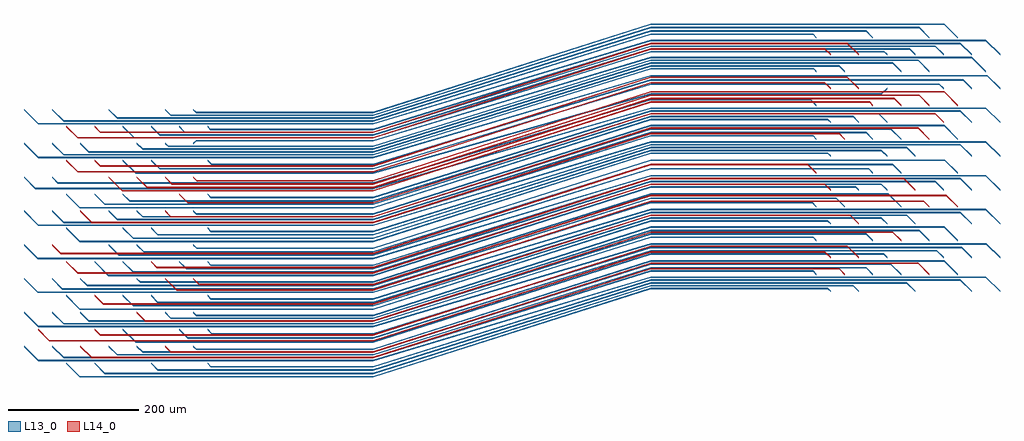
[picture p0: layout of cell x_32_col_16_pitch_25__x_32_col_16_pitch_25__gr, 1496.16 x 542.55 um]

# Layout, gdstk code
import gdstk
lib = gdstk.Library(unit=1e-6, precision=1e-09)
def R(c, l, rs):  # rectangles x0, y0, x1, y1
    for r in rs: c.add(gdstk.rectangle(r[:2], r[2:], *l))
def A(c, l, x, y, w, h, nx, ny, dx, dy):  # array of equal rectangles
    R(c, l, [(x+i*dx, y+j*dy, x+i*dx+w, y+j*dy+h) for i in range(nx) for j in range(ny)])
def P(c, l, *ps):  # polygons
    for p in ps: c.add(gdstk.Polygon(p, *l))
L13_0 = (13, 0)
L14_0 = (14, 0)

x_32_col_16_pitch_25__x_ = lib.new_cell('x_32_col_16_pitch_25__x_32_col_16_pitch_25__gr')
A(x_32_col_16_pitch_25__x_, L13_0, 1425.106, 1466.224, 449.894, 2, 1, 3, 0, 103.68)
A(x_32_col_16_pitch_25__x_, L13_0, 1544.638, 1476.592, 330.362, 2, 1, 3, 0, 103.68)
A(x_32_col_16_pitch_25__x_, L13_0, 1506.522, 1575.088, 368.478, 2, 1, 3, 0, 51.84)
A(x_32_col_16_pitch_25__x_, L13_0, 1626.054, 1585.456, 248.946, 2, 1, 4, 0, 51.84)
A(x_32_col_16_pitch_25__x_, L13_0, 2300, 1601.56, 271.46, 2, 1, 3, 0, 103.68)
A(x_32_col_16_pitch_25__x_, L13_0, 2300, 1610.2, 392.72, 2, 1, 3, 0, 103.68)
A(x_32_col_16_pitch_25__x_, L13_0, 2300, 1680.184, 248.946, 2, 1, 3, 0, 155.52)
A(x_32_col_16_pitch_25__x_, L13_0, 2300, 1685.368, 330.362, 2, 1, 3, 0, 155.52)
A(x_32_col_16_pitch_25__x_, L13_0, 2300, 1695.736, 449.894, 2, 1, 3, 0, 155.52)
A(x_32_col_16_pitch_25__x_, L13_0, 2300, 1709.56, 353.74, 2, 1, 3, 0, 51.84)
A(x_32_col_16_pitch_25__x_, L13_0, 2300, 1718.2, 475, 2, 1, 4, 0, 51.84)
A(x_32_col_16_pitch_25__x_, L13_0, 2300, 1722.52, 513.982, 2, 1, 4, 0, 51.84)
R(x_32_col_16_pitch_25__x_, L13_0, [(1463.222,1471.408,1875,1473.408), (1626.054,1481.776,1875,1483.776), (1361.017,1491.28,1875,1493.28), (1400,1495.6,1875,1497.6), (1482.28,1499.92,1875,1501.92), (1521.26,1504.24,1875,1506.24), (1603.54,1508.56,1875,1510.56), (1510.41,1519.36,1875,1521.36), (1590.53,1525.84,1875,1527.84), (1627.35,1532.32,1875,1534.32), (1361.017,1543.12,1875,1545.12), (1400,1547.44,1875,1549.44), (1438.98,1551.76,1875,1553.76), (1564.56,1556.08,1875,1558.08), (1603.54,1560.4,1875,1562.4), (1360.153,1595.824,1875,1597.824), (1398.272,1601.008,1875,1603.008), (2300,1605.88,2610.44,1607.88), (1436.388,1606.192,1875,1608.192), (1517.804,1611.376,1875,1613.376), (2300,1614.52,2775,1616.52), (2300,1618.84,2813.982,1620.84), (1468.406,1621.744,1875,1623.744), (2300,1628.344,2548.946,1630.344), (1587.938,1632.112,1875,1634.112), (2300,1633.528,2630.362,1635.528), (2300,1638.712,2668.478,1640.712), (2300,1643.896,2749.894,1645.896), (1360.153,1647.664,1875,1649.664), (1484.872,1652.848,1875,1654.848), (2300,1654.264,2657.196,1656.264), (1522.988,1658.032,1875,1660.032), (2300,1659.448,2738.612,1661.448), (1604.404,1663.216,1875,1665.216), (2300,1664.632,2776.728,1666.632), (2300,1669.816,2814.846,1671.816), (2300,1690.552,2711.778,1692.552), (1361.017,1698.64,1875,1700.64), (1400,1702.96,1875,1704.96), (1482.28,1707.28,1875,1709.28), (1521.26,1711.6,1875,1713.6), (1603.54,1715.92,1875,1717.92), (1425.106,1725.424,1875,1727.424), (1463.222,1730.608,1875,1732.608), (2300,1733.32,2547.65,1735.32), (1501.338,1735.792,1875,1737.792), (2300,1739.8,2584.47,1741.8), (2300,1746.28,2664.59,1748.28), (1356.697,1754.8,1875,1756.8), (2300,1757.08,2614.76,1759.08), (1391.36,1763.44,1875,1765.44), (2300,1765.72,2736.02,1767.72), (1510.41,1778.56,1875,1780.56), (1547.23,1785.04,1875,1787.04), (2300,1785.16,2634.25,1787.16), (1627.35,1791.52,1875,1793.52), (2300,1791.64,2671.07,1793.64), (2300,1798.12,2751.19,1800.12), (1361.017,1802.32,1875,1804.32), (1400,1806.64,1875,1808.64), (1438.98,1810.96,1875,1812.96), (1521.26,1815.28,1875,1817.28), (1560.24,1819.6,1875,1821.6), (1603.54,1828.24,1875,1830.24), (1508.25,1832.56,1875,1834.56), (1547.23,1836.88,1875,1838.88), (1586.21,1841.2,1875,1843.2), (1625.19,1845.52,1875,1847.52), (2300,1846.072,2668.478,1848.072), (1361.017,1854.16,1875,1856.16), (1400,1858.48,1875,1860.48), (2300,1860.76,2571.46,1862.76), (1482.28,1862.8,1875,1864.8), (2300,1865.08,2610.44,1867.08), (1564.56,1867.12,1875,1869.12), (2300,1869.4,2649.42,1871.4), (1603.54,1871.44,1875,1873.44), (2300,1891,2545.49,1893), (2300,1899.64,2653.74,1901.64), (2300,1914.76,2742.5,1916.76), (2300,1921.24,2779.32,1923.24), (2300,1927.72,2816.142,1929.72), (2300,1938.52,2549.81,1940.52), (2300,1942.84,2588.79,1944.84), (2300,1947.16,2671.07,1949.16), (2300,1951.48,2710.05,1953.48), (2300,1955.8,2792.332,1957.8), (2300,1964.44,2658.06,1966.44), (2300,1968.76,2697.04,1970.76), (2300,1973.08,2736.02,1975.08), (2300,1977.4,2775,1979.4), (2300,1981.72,2813.982,1983.72), (2300,2001.592,2711.778,2003.592)])
P(x_32_col_16_pitch_25__x_, L13_0, [(2554.13,1986.04),(2554.13,1988.04),(2548.946,1993.224),(2548.946,1991.224)],
  [(2300,1991.224),(2300,1993.224),(1875,1860.48),(1875,1858.48)],
  [(1400,1858.48),(1400,1860.48),(1382.72,1877.76),(1382.72,1875.76)],
  [(2640.73,1986.04),(2640.73,1988.04),(2630.362,1998.408),(2630.362,1996.408)],
  [(2300,1996.408),(2300,1998.408),(1875,1864.8),(1875,1862.8)],
  [(1482.28,1862.8),(1482.28,1864.8),(1469.32,1877.76),(1469.32,1875.76)],
  [(2727.33,1986.04),(2727.33,1988.04),(2711.778,2003.592),(2711.778,2001.592)],
  [(2300,2001.592),(2300,2003.592),(1875,1869.12),(1875,1867.12)],
  [(1564.56,1867.12),(1564.56,1869.12),(1555.92,1877.76),(1555.92,1875.76)],
  [(2770.63,1986.04),(2770.63,1988.04),(2749.894,2008.776),(2749.894,2006.776)],
  [(2300,2006.776),(2300,2008.776),(1875,1873.44),(1875,1871.44)],
  [(1603.54,1871.44),(1603.54,1873.44),(1599.22,1877.76),(1599.22,1875.76)],
  [(2662.38,1960.12),(2662.38,1962.12),(2658.06,1966.44),(2658.06,1964.44)],
  [(2300,1964.44),(2300,1966.44),(1875,1834.56),(1875,1832.56)],
  [(1508.25,1832.56),(1508.25,1834.56),(1490.97,1851.84),(1490.97,1849.84)],
  [(2705.68,1960.12),(2705.68,1962.12),(2697.04,1970.76),(2697.04,1968.76)],
  [(2300,1968.76),(2300,1970.76),(1875,1838.88),(1875,1836.88)],
  [(1547.23,1836.88),(1547.23,1838.88),(1534.27,1851.84),(1534.27,1849.84)],
  [(2748.98,1960.12),(2748.98,1962.12),(2736.02,1975.08),(2736.02,1973.08)],
  [(2300,1973.08),(2300,1975.08),(1875,1843.2),(1875,1841.2)],
  [(1586.21,1841.2),(1586.21,1843.2),(1577.57,1851.84),(1577.57,1849.84)],
  [(2792.28,1960.12),(2792.28,1962.12),(2775,1979.4),(2775,1977.4)],
  [(2300,1977.4),(2300,1979.4),(1875,1847.52),(1875,1845.52)],
  [(1625.19,1845.52),(1625.19,1847.52),(1620.87,1851.84),(1620.87,1849.84)],
  [(2835.582,1960.12),(2835.582,1962.12),(2813.982,1983.72),(2813.982,1981.72)],
  [(2300,1981.72),(2300,1983.72),(1875,1856.16),(1875,1854.16)],
  [(1361.017,1854.16),(1361.017,1856.16),(1339.417,1877.76),(1339.417,1875.76)],
  [(2554.13,1934.2),(2554.13,1936.2),(2549.81,1940.52),(2549.81,1938.52)],
  [(2300,1938.52),(2300,1940.52),(1875,1808.64),(1875,1806.64)],
  [(1400,1806.64),(1400,1808.64),(1382.72,1825.92),(1382.72,1823.92)],
  [(2597.43,1934.2),(2597.43,1936.2),(2588.79,1944.84),(2588.79,1942.84)],
  [(2300,1942.84),(2300,1944.84),(1875,1812.96),(1875,1810.96)],
  [(1438.98,1810.96),(1438.98,1812.96),(1426.02,1825.92),(1426.02,1823.92)],
  [(2684.03,1934.2),(2684.03,1936.2),(2671.07,1949.16),(2671.07,1947.16)],
  [(2300,1947.16),(2300,1949.16),(1875,1817.28),(1875,1815.28)],
  [(1521.26,1815.28),(1521.26,1817.28),(1512.62,1825.92),(1512.62,1823.92)],
  [(2727.33,1934.2),(2727.33,1936.2),(2710.05,1953.48),(2710.05,1951.48)],
  [(2300,1951.48),(2300,1953.48),(1875,1821.6),(1875,1819.6)],
  [(1560.24,1819.6),(1560.24,1821.6),(1555.92,1825.92),(1555.92,1823.92)],
  [(2813.932,1934.2),(2813.932,1936.2),(2792.332,1957.8),(2792.332,1955.8)],
  [(2300,1955.8),(2300,1957.8),(1875,1830.24),(1875,1828.24)],
  [(1603.54,1828.24),(1603.54,1830.24),(1599.22,1825.92),(1599.22,1823.92)],
  [(2662.38,1908.28),(2662.38,1910.28),(2653.74,1901.64),(2653.74,1899.64)],
  [(2300,1899.64),(2300,1901.64),(1875,1780.56),(1875,1778.56)],
  [(1510.41,1778.56),(1510.41,1780.56),(1490.97,1800),(1490.97,1798)],
  [(2748.98,1908.28),(2748.98,1910.28),(2742.5,1916.76),(2742.5,1914.76)],
  [(2300,1914.76),(2300,1916.76),(1875,1787.04),(1875,1785.04)],
  [(1547.23,1785.04),(1547.23,1787.04),(1534.27,1800),(1534.27,1798)],
  [(2792.28,1908.28),(2792.28,1910.28),(2779.32,1923.24),(2779.32,1921.24)],
  [(2300,1921.24),(2300,1923.24),(1875,1793.52),(1875,1791.52)],
  [(1627.35,1791.52),(1627.35,1793.52),(1620.87,1800),(1620.87,1798)],
  [(2835.582,1908.28),(2835.582,1910.28),(2816.142,1929.72),(2816.142,1927.72)],
  [(2300,1927.72),(2300,1929.72),(1875,1804.32),(1875,1802.32)],
  [(1361.017,1802.32),(1361.017,1804.32),(1339.417,1825.92),(1339.417,1823.92)],
  [(2554.13,1882.36),(2554.13,1884.36),(2545.49,1893),(2545.49,1891)],
  [(2300,1891),(2300,1893),(1875,1765.44),(1875,1763.44)],
  [(1391.36,1763.44),(1391.36,1765.44),(1382.72,1774.08),(1382.72,1772.08)],
  [(2575.78,1856.44),(2575.78,1858.44),(2571.46,1862.76),(2571.46,1860.76)],
  [(2300,1860.76),(2300,1862.76),(1875,1727.424),(1875,1725.424)],
  [(1425.106,1725.424),(1425.106,1727.424),(1404.37,1748.16),(1404.37,1746.16)],
  [(2619.08,1856.44),(2619.08,1858.44),(2610.44,1867.08),(2610.44,1865.08)],
  [(2300,1865.08),(2300,1867.08),(1875,1732.608),(1875,1730.608)],
  [(1463.222,1730.608),(1463.222,1732.608),(1447.67,1748.16),(1447.67,1746.16)],
  [(2662.38,1856.44),(2662.38,1858.44),(2649.42,1871.4),(2649.42,1869.4)],
  [(2300,1869.4),(2300,1871.4),(1875,1737.792),(1875,1735.792)],
  [(1501.338,1735.792),(1501.338,1737.792),(1490.97,1748.16),(1490.97,1746.16)],
  [(2792.28,1856.44),(2792.28,1858.44),(2775,1875.72),(2775,1873.72)],
  [(2300,1873.72),(2300,1875.72),(1875,1742.976),(1875,1740.976)],
  [(1626.054,1740.976),(1626.054,1742.976),(1620.87,1748.16),(1620.87,1746.16)],
  [(2835.582,1856.44),(2835.582,1858.44),(2813.982,1880.04),(2813.982,1878.04)],
  [(2300,1878.04),(2300,1880.04),(1875,1756.8),(1875,1754.8)],
  [(1356.697,1754.8),(1356.697,1756.8),(1339.417,1774.08),(1339.417,1772.08)],
  [(2554.13,1830.52),(2554.13,1832.52),(2548.946,1837.704),(2548.946,1835.704)],
  [(2300,1835.704),(2300,1837.704),(1875,1704.96),(1875,1702.96)],
  [(1400,1702.96),(1400,1704.96),(1382.72,1722.24),(1382.72,1720.24)],
  [(2640.73,1830.52),(2640.73,1832.52),(2630.362,1842.888),(2630.362,1840.888)],
  [(2300,1840.888),(2300,1842.888),(1875,1709.28),(1875,1707.28)],
  [(1482.28,1707.28),(1482.28,1709.28),(1469.32,1722.24),(1469.32,1720.24)],
  [(2684.03,1830.52),(2684.03,1832.52),(2668.478,1848.072),(2668.478,1846.072)],
  [(2300,1846.072),(2300,1848.072),(1875,1713.6),(1875,1711.6)],
  [(1521.26,1711.6),(1521.26,1713.6),(1512.62,1722.24),(1512.62,1720.24)],
  [(2770.63,1830.52),(2770.63,1832.52),(2749.894,1853.256),(2749.894,1851.256)],
  [(2300,1851.256),(2300,1853.256),(1875,1717.92),(1875,1715.92)],
  [(1603.54,1715.92),(1603.54,1717.92),(1599.22,1722.24),(1599.22,1720.24)],
  [(2575.78,1804.6),(2575.78,1806.6),(2571.46,1810.92),(2571.46,1808.92)],
  [(2300,1808.92),(2300,1810.92),(1875,1675.584),(1875,1673.584)],
  [(1425.106,1673.584),(1425.106,1675.584),(1404.37,1696.32),(1404.37,1694.32)],
  [(2662.38,1804.6),(2662.38,1806.6),(2653.74,1815.24),(2653.74,1813.24)],
  [(2300,1813.24),(2300,1815.24),(1875,1680.768),(1875,1678.768)],
  [(1506.522,1678.768),(1506.522,1680.768),(1490.97,1696.32),(1490.97,1694.32)],
  [(2705.68,1804.6),(2705.68,1806.6),(2692.72,1819.56),(2692.72,1817.56)],
  [(2300,1817.56),(2300,1819.56),(1875,1685.952),(1875,1683.952)],
  [(1544.638,1683.952),(1544.638,1685.952),(1534.27,1696.32),(1534.27,1694.32)],
  [(2792.28,1804.6),(2792.28,1806.6),(2775,1823.88),(2775,1821.88)],
  [(2300,1821.88),(2300,1823.88),(1875,1691.136),(1875,1689.136)],
  [(1626.054,1689.136),(1626.054,1691.136),(1620.87,1696.32),(1620.87,1694.32)],
  [(2835.582,1804.6),(2835.582,1806.6),(2813.982,1828.2),(2813.982,1826.2)],
  [(2300,1826.2),(2300,1828.2),(1875,1700.64),(1875,1698.64)],
  [(1361.017,1698.64),(1361.017,1700.64),(1339.417,1722.24),(1339.417,1720.24)],
  [(2640.73,1778.68),(2640.73,1780.68),(2634.25,1787.16),(2634.25,1785.16)],
  [(2300,1785.16),(2300,1787.16),(1875,1654.848),(1875,1652.848)],
  [(1484.872,1652.848),(1484.872,1654.848),(1469.32,1670.4),(1469.32,1668.4)],
  [(2684.03,1778.68),(2684.03,1780.68),(2671.07,1793.64),(2671.07,1791.64)],
  [(2300,1791.64),(2300,1793.64),(1875,1660.032),(1875,1658.032)],
  [(1522.988,1658.032),(1522.988,1660.032),(1512.62,1670.4),(1512.62,1668.4)],
  [(2770.63,1778.68),(2770.63,1780.68),(2751.19,1800.12),(2751.19,1798.12)],
  [(2300,1798.12),(2300,1800.12),(1875,1665.216),(1875,1663.216)],
  [(1604.404,1663.216),(1604.404,1665.216),(1599.22,1670.4),(1599.22,1668.4)],
  [(2619.08,1752.76),(2619.08,1754.76),(2614.76,1759.08),(2614.76,1757.08)],
  [(2300,1757.08),(2300,1759.08),(1875,1623.744),(1875,1621.744)],
  [(1468.406,1621.744),(1468.406,1623.744),(1447.67,1644.48),(1447.67,1642.48)],
  [(2662.38,1752.76),(2662.38,1754.76),(2653.74,1763.4),(2653.74,1761.4)],
  [(2300,1761.4),(2300,1763.4),(1875,1628.928),(1875,1626.928)],
  [(1506.522,1626.928),(1506.522,1628.928),(1490.97,1644.48),(1490.97,1642.48)],
  [(2748.98,1752.76),(2748.98,1754.76),(2736.02,1767.72),(2736.02,1765.72)],
  [(2300,1765.72),(2300,1767.72),(1875,1634.112),(1875,1632.112)],
  [(1587.938,1632.112),(1587.938,1634.112),(1577.57,1644.48),(1577.57,1642.48)],
  [(2792.28,1752.76),(2792.28,1754.76),(2775,1772.04),(2775,1770.04)],
  [(2300,1770.04),(2300,1772.04),(1875,1639.296),(1875,1637.296)],
  [(1626.054,1637.296),(1626.054,1639.296),(1620.87,1644.48),(1620.87,1642.48)],
  [(2835.582,1752.76),(2835.582,1754.76),(2813.982,1776.36),(2813.982,1774.36)],
  [(2300,1774.36),(2300,1776.36),(1875,1649.664),(1875,1647.664)],
  [(1360.153,1647.664),(1360.153,1649.664),(1339.417,1670.4),(1339.417,1668.4)],
  [(2554.13,1726.84),(2554.13,1728.84),(2547.65,1735.32),(2547.65,1733.32)],
  [(2300,1733.32),(2300,1735.32),(1875,1603.008),(1875,1601.008)],
  [(1398.272,1601.008),(1398.272,1603.008),(1382.72,1618.56),(1382.72,1616.56)],
  [(2597.43,1726.84),(2597.43,1728.84),(2584.47,1741.8),(2584.47,1739.8)],
  [(2300,1739.8),(2300,1741.8),(1875,1608.192),(1875,1606.192)],
  [(1436.388,1606.192),(1436.388,1608.192),(1426.02,1618.56),(1426.02,1616.56)],
  [(2684.03,1726.84),(2684.03,1728.84),(2664.59,1748.28),(2664.59,1746.28)],
  [(2300,1746.28),(2300,1748.28),(1875,1613.376),(1875,1611.376)],
  [(1517.804,1611.376),(1517.804,1613.376),(1512.62,1618.56),(1512.62,1616.56)],
  [(2575.78,1700.92),(2575.78,1702.92),(2571.46,1707.24),(2571.46,1705.24)],
  [(2300,1705.24),(2300,1707.24),(1875,1571.904),(1875,1569.904)],
  [(1425.106,1569.904),(1425.106,1571.904),(1404.37,1592.64),(1404.37,1590.64)],
  [(2662.38,1700.92),(2662.38,1702.92),(2653.74,1711.56),(2653.74,1709.56)],
  [(2300,1709.56),(2300,1711.56),(1875,1577.088),(1875,1575.088)],
  [(1506.522,1575.088),(1506.522,1577.088),(1490.97,1592.64),(1490.97,1590.64)],
  [(2705.68,1700.92),(2705.68,1702.92),(2692.72,1715.88),(2692.72,1713.88)],
  [(2300,1713.88),(2300,1715.88),(1875,1582.272),(1875,1580.272)],
  [(1544.638,1580.272),(1544.638,1582.272),(1534.27,1592.64),(1534.27,1590.64)],
  [(2792.28,1700.92),(2792.28,1702.92),(2775,1720.2),(2775,1718.2)],
  [(2300,1718.2),(2300,1720.2),(1875,1587.456),(1875,1585.456)],
  [(1626.054,1585.456),(1626.054,1587.456),(1620.87,1592.64),(1620.87,1590.64)],
  [(2835.582,1700.92),(2835.582,1702.92),(2813.982,1724.52),(2813.982,1722.52)],
  [(2300,1722.52),(2300,1724.52),(1875,1597.824),(1875,1595.824)],
  [(1360.153,1595.824),(1360.153,1597.824),(1339.417,1618.56),(1339.417,1616.56)],
  [(2554.13,1675),(2554.13,1677),(2548.946,1682.184),(2548.946,1680.184)],
  [(2300,1680.184),(2300,1682.184),(1875,1549.44),(1875,1547.44)],
  [(1400,1547.44),(1400,1549.44),(1382.72,1566.72),(1382.72,1564.72)],
  [(2640.73,1675),(2640.73,1677),(2630.362,1687.368),(2630.362,1685.368)],
  [(2300,1685.368),(2300,1687.368),(1875,1553.76),(1875,1551.76)],
  [(1438.98,1551.76),(1438.98,1553.76),(1426.02,1566.72),(1426.02,1564.72)],
  [(2727.33,1675),(2727.33,1677),(2711.778,1692.552),(2711.778,1690.552)],
  [(2300,1690.552),(2300,1692.552),(1875,1558.08),(1875,1556.08)],
  [(1564.56,1556.08),(1564.56,1558.08),(1555.92,1566.72),(1555.92,1564.72)],
  [(2770.63,1675),(2770.63,1677),(2749.894,1697.736),(2749.894,1695.736)],
  [(2300,1695.736),(2300,1697.736),(1875,1562.4),(1875,1560.4)],
  [(1603.54,1560.4),(1603.54,1562.4),(1599.22,1566.72),(1599.22,1564.72)],
  [(2662.38,1649.08),(2662.38,1651.08),(2657.196,1656.264),(2657.196,1654.264)],
  [(2300,1654.264),(2300,1656.264),(1875,1521.36),(1875,1519.36)],
  [(1510.41,1519.36),(1510.41,1521.36),(1490.97,1540.8),(1490.97,1538.8)],
  [(2748.98,1649.08),(2748.98,1651.08),(2738.612,1661.448),(2738.612,1659.448)],
  [(2300,1659.448),(2300,1661.448),(1875,1527.84),(1875,1525.84)],
  [(1590.53,1525.84),(1590.53,1527.84),(1577.57,1540.8),(1577.57,1538.8)],
  [(2792.28,1649.08),(2792.28,1651.08),(2776.728,1666.632),(2776.728,1664.632)],
  [(2300,1664.632),(2300,1666.632),(1875,1534.32),(1875,1532.32)],
  [(1627.35,1532.32),(1627.35,1534.32),(1620.87,1540.8),(1620.87,1538.8)],
  [(2835.582,1649.08),(2835.582,1651.08),(2814.846,1671.816),(2814.846,1669.816)],
  [(2300,1669.816),(2300,1671.816),(1875,1545.12),(1875,1543.12)],
  [(1361.017,1543.12),(1361.017,1545.12),(1339.417,1566.72),(1339.417,1564.72)],
  [(2554.13,1623.16),(2554.13,1625.16),(2548.946,1630.344),(2548.946,1628.344)],
  [(2300,1628.344),(2300,1630.344),(1875,1497.6),(1875,1495.6)],
  [(1400,1495.6),(1400,1497.6),(1382.72,1514.88),(1382.72,1512.88)],
  [(2640.73,1623.16),(2640.73,1625.16),(2630.362,1635.528),(2630.362,1633.528)],
  [(2300,1633.528),(2300,1635.528),(1875,1501.92),(1875,1499.92)],
  [(1482.28,1499.92),(1482.28,1501.92),(1469.32,1514.88),(1469.32,1512.88)],
  [(2684.03,1623.16),(2684.03,1625.16),(2668.478,1640.712),(2668.478,1638.712)],
  [(2300,1638.712),(2300,1640.712),(1875,1506.24),(1875,1504.24)],
  [(1521.26,1504.24),(1521.26,1506.24),(1512.62,1514.88),(1512.62,1512.88)],
  [(2770.63,1623.16),(2770.63,1625.16),(2749.894,1645.896),(2749.894,1643.896)],
  [(2300,1643.896),(2300,1645.896),(1875,1510.56),(1875,1508.56)],
  [(1603.54,1508.56),(1603.54,1510.56),(1599.22,1514.88),(1599.22,1512.88)],
  [(2575.78,1597.24),(2575.78,1599.24),(2571.46,1603.56),(2571.46,1601.56)],
  [(2300,1601.56),(2300,1603.56),(1875,1468.224),(1875,1466.224)],
  [(1425.106,1466.224),(1425.106,1468.224),(1404.37,1488.96),(1404.37,1486.96)],
  [(2619.08,1597.24),(2619.08,1599.24),(2610.44,1607.88),(2610.44,1605.88)],
  [(2300,1605.88),(2300,1607.88),(1875,1473.408),(1875,1471.408)],
  [(1463.222,1471.408),(1463.222,1473.408),(1447.67,1488.96),(1447.67,1486.96)],
  [(2705.68,1597.24),(2705.68,1599.24),(2692.72,1612.2),(2692.72,1610.2)],
  [(2300,1610.2),(2300,1612.2),(1875,1478.592),(1875,1476.592)],
  [(1544.638,1476.592),(1544.638,1478.592),(1534.27,1488.96),(1534.27,1486.96)],
  [(2792.28,1597.24),(2792.28,1599.24),(2775,1616.52),(2775,1614.52)],
  [(2300,1614.52),(2300,1616.52),(1875,1483.776),(1875,1481.776)],
  [(1626.054,1481.776),(1626.054,1483.776),(1620.87,1488.96),(1620.87,1486.96)],
  [(2835.582,1597.24),(2835.582,1599.24),(2813.982,1620.84),(2813.982,1618.84)],
  [(2300,1618.84),(2300,1620.84),(1875,1493.28),(1875,1491.28)],
  [(1361.017,1491.28),(1361.017,1493.28),(1339.417,1514.88),(1339.417,1512.88)])
R(x_32_col_16_pitch_25__x_, L14_0, [(1443.3,1495.6,1875,1497.6), (1564.56,1504.24,1875,1506.24), (1378.347,1521.52,1875,1523.52), (1456.31,1530.16,1875,1532.16), (1525.58,1551.76,1875,1553.76), (1460.63,1577.68,1875,1579.68), (1573.2,1599.28,1875,1601.28), (1607.86,1607.92,1875,1609.92), (1421.65,1625.2,1875,1627.2), (2300,1631.8,2588.79,1633.8), (1542.91,1633.84,1875,1635.84), (2300,1640.44,2710.05,1642.44), (1395.68,1655.44,1875,1657.44), (2300,1657.72,2567.14,1659.72), (2300,1666.36,2601.8,1668.36), (2300,1687.96,2671.07,1689.96), (1443.3,1702.96,1875,1704.96), (1564.56,1711.6,1875,1713.6), (2300,1713.88,2606.12,1715.88), (1590.53,1733.2,1875,1735.2), (2300,1735.48,2718.69,1737.48), (2300,1744.12,2753.35,1746.12), (1490.056,1751.344,1875,1753.344), (1528.172,1756.528,1875,1758.528), (2300,1761.4,2567.14,1763.4), (1566.288,1761.712,1875,1763.712), (1604.404,1766.896,1875,1768.896), (2300,1770.04,2688.4,1772.04), (1421.65,1780.72,1875,1782.72), (1456.31,1789.36,1875,1791.36), (2300,1791.64,2541.17,1793.64), (1421.65,1832.56,1875,1834.56), (2300,1839.16,2588.79,1841.16), (1456.31,1841.2,1875,1843.2), (2300,1847.8,2710.05,1849.8), (2300,1869.4,2736.02,1871.4), (2300,1887.544,2635.546,1889.544), (2300,1892.728,2673.662,1894.728), (2300,1897.912,2711.778,1899.912), (2300,1903.096,2749.894,1905.096), (2300,1916.92,2567.14,1918.92), (2300,1925.56,2601.8,1927.56), (2300,1968.76,2567.14,1970.76), (2300,1977.4,2601.8,1979.4)])
P(x_32_col_16_pitch_25__x_, L14_0, [(2575.78,1960.12),(2575.78,1962.12),(2567.14,1970.76),(2567.14,1968.76)],
  [(2300,1968.76),(2300,1970.76),(1875,1834.56),(1875,1832.56)],
  [(1421.65,1832.56),(1421.65,1834.56),(1404.37,1851.84),(1404.37,1849.84)],
  [(2619.08,1960.12),(2619.08,1962.12),(2601.8,1979.4),(2601.8,1977.4)],
  [(2300,1977.4),(2300,1979.4),(1875,1843.2),(1875,1841.2)],
  [(1456.31,1841.2),(1456.31,1843.2),(1447.67,1851.84),(1447.67,1849.84)],
  [(2575.78,1908.28),(2575.78,1910.28),(2567.14,1918.92),(2567.14,1916.92)],
  [(2300,1916.92),(2300,1918.92),(1875,1782.72),(1875,1780.72)],
  [(1421.65,1780.72),(1421.65,1782.72),(1404.37,1800),(1404.37,1798)],
  [(2619.08,1908.28),(2619.08,1910.28),(2601.8,1927.56),(2601.8,1925.56)],
  [(2300,1925.56),(2300,1927.56),(1875,1791.36),(1875,1789.36)],
  [(1456.31,1789.36),(1456.31,1791.36),(1447.67,1800),(1447.67,1798)],
  [(2640.73,1882.36),(2640.73,1884.36),(2635.546,1889.544),(2635.546,1887.544)],
  [(2300,1887.544),(2300,1889.544),(1875,1753.344),(1875,1751.344)],
  [(1490.056,1751.344),(1490.056,1753.344),(1469.32,1774.08),(1469.32,1772.08)],
  [(2684.03,1882.36),(2684.03,1884.36),(2673.662,1894.728),(2673.662,1892.728)],
  [(2300,1892.728),(2300,1894.728),(1875,1758.528),(1875,1756.528)],
  [(1528.172,1756.528),(1528.172,1758.528),(1512.62,1774.08),(1512.62,1772.08)],
  [(2727.33,1882.36),(2727.33,1884.36),(2711.778,1899.912),(2711.778,1897.912)],
  [(2300,1897.912),(2300,1899.912),(1875,1763.712),(1875,1761.712)],
  [(1566.288,1761.712),(1566.288,1763.712),(1555.92,1774.08),(1555.92,1772.08)],
  [(2770.63,1882.36),(2770.63,1884.36),(2749.894,1905.096),(2749.894,1903.096)],
  [(2300,1903.096),(2300,1905.096),(1875,1768.896),(1875,1766.896)],
  [(1604.404,1766.896),(1604.404,1768.896),(1599.22,1774.08),(1599.22,1772.08)],
  [(2748.98,1856.44),(2748.98,1858.44),(2736.02,1871.4),(2736.02,1869.4)],
  [(2300,1869.4),(2300,1871.4),(1875,1735.2),(1875,1733.2)],
  [(1590.53,1733.2),(1590.53,1735.2),(1577.57,1748.16),(1577.57,1746.16)],
  [(2597.43,1830.52),(2597.43,1832.52),(2588.79,1841.16),(2588.79,1839.16)],
  [(2300,1839.16),(2300,1841.16),(1875,1704.96),(1875,1702.96)],
  [(1443.3,1702.96),(1443.3,1704.96),(1426.02,1722.24),(1426.02,1720.24)],
  [(2727.33,1830.52),(2727.33,1832.52),(2710.05,1849.8),(2710.05,1847.8)],
  [(2300,1847.8),(2300,1849.8),(1875,1713.6),(1875,1711.6)],
  [(1564.56,1711.6),(1564.56,1713.6),(1555.92,1722.24),(1555.92,1720.24)],
  [(2554.13,1778.68),(2554.13,1780.68),(2541.17,1793.64),(2541.17,1791.64)],
  [(2300,1791.64),(2300,1793.64),(1875,1657.44),(1875,1655.44)],
  [(1395.68,1655.44),(1395.68,1657.44),(1382.72,1670.4),(1382.72,1668.4)],
  [(2575.78,1752.76),(2575.78,1754.76),(2567.14,1763.4),(2567.14,1761.4)],
  [(2300,1761.4),(2300,1763.4),(1875,1627.2),(1875,1625.2)],
  [(1421.65,1625.2),(1421.65,1627.2),(1404.37,1644.48),(1404.37,1642.48)],
  [(2705.68,1752.76),(2705.68,1754.76),(2688.4,1772.04),(2688.4,1770.04)],
  [(2300,1770.04),(2300,1772.04),(1875,1635.84),(1875,1633.84)],
  [(1542.91,1633.84),(1542.91,1635.84),(1534.27,1644.48),(1534.27,1642.48)],
  [(2727.33,1726.84),(2727.33,1728.84),(2718.69,1737.48),(2718.69,1735.48)],
  [(2300,1735.48),(2300,1737.48),(1875,1601.28),(1875,1599.28)],
  [(1573.2,1599.28),(1573.2,1601.28),(1555.92,1618.56),(1555.92,1616.56)],
  [(2770.63,1726.84),(2770.63,1728.84),(2753.35,1746.12),(2753.35,1744.12)],
  [(2300,1744.12),(2300,1746.12),(1875,1609.92),(1875,1607.92)],
  [(1607.86,1607.92),(1607.86,1609.92),(1599.22,1618.56),(1599.22,1616.56)],
  [(2619.08,1700.92),(2619.08,1702.92),(2606.12,1715.88),(2606.12,1713.88)],
  [(2300,1713.88),(2300,1715.88),(1875,1579.68),(1875,1577.68)],
  [(1460.63,1577.68),(1460.63,1579.68),(1447.67,1592.64),(1447.67,1590.64)],
  [(2684.03,1675),(2684.03,1677),(2671.07,1689.96),(2671.07,1687.96)],
  [(2300,1687.96),(2300,1689.96),(1875,1553.76),(1875,1551.76)],
  [(1525.58,1551.76),(1525.58,1553.76),(1512.62,1566.72),(1512.62,1564.72)],
  [(2575.78,1649.08),(2575.78,1651.08),(2567.14,1659.72),(2567.14,1657.72)],
  [(2300,1657.72),(2300,1659.72),(1875,1523.52),(1875,1521.52)],
  [(1378.347,1521.52),(1378.347,1523.52),(1361.067,1540.8),(1361.067,1538.8)],
  [(2619.08,1649.08),(2619.08,1651.08),(2601.8,1668.36),(2601.8,1666.36)],
  [(2300,1666.36),(2300,1668.36),(1875,1532.16),(1875,1530.16)],
  [(1456.31,1530.16),(1456.31,1532.16),(1447.67,1540.8),(1447.67,1538.8)],
  [(2597.43,1623.16),(2597.43,1625.16),(2588.79,1633.8),(2588.79,1631.8)],
  [(2300,1631.8),(2300,1633.8),(1875,1497.6),(1875,1495.6)],
  [(1443.3,1495.6),(1443.3,1497.6),(1426.02,1514.88),(1426.02,1512.88)],
  [(2727.33,1623.16),(2727.33,1625.16),(2710.05,1642.44),(2710.05,1640.44)],
  [(2300,1640.44),(2300,1642.44),(1875,1506.24),(1875,1504.24)],
  [(1564.56,1504.24),(1564.56,1506.24),(1555.92,1514.88),(1555.92,1512.88)])

lib.write_gds('x_32_col_16_pitch_25__x_32_col_16_pitch_25__gr.gds')
